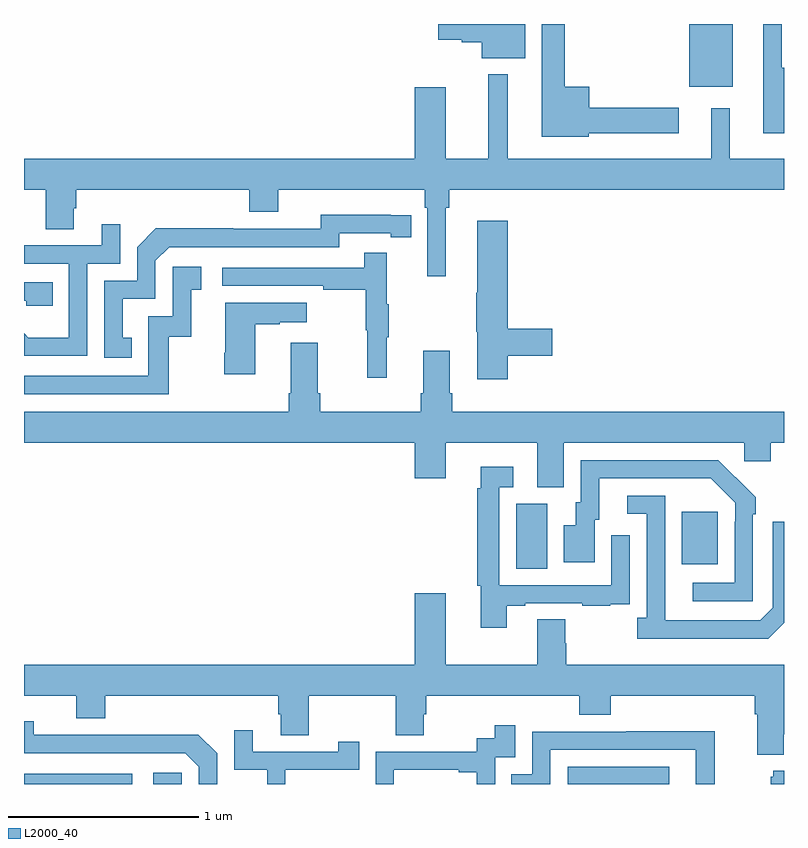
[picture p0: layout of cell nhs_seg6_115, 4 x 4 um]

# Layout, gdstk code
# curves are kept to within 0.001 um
import gdstk
lib = gdstk.Library(unit=1e-6, precision=1e-09)
def R(c, l, rs):  # rectangles x0, y0, x1, y1
    for r in rs: c.add(gdstk.rectangle(r[:2], r[2:], *l))
def P(c, l, *ps):  # polygons
    for p in ps: c.add(gdstk.Polygon(p, *l))
L2000_40 = (2000, 40)

nhs_seg6_115 = lib.new_cell('nhs_seg6_115')
R(nhs_seg6_115, L2000_40, [(115,985.5,115.57,985.554), (115.68,985.5,115.83,985.558), (117.861,985.5,118.396,985.59), (117.59,986.632,117.754,986.976), (118.463,986.657,118.651,986.932), (118.502,989.171,118.729,989.5)])
P(nhs_seg6_115, L2000_40, [(117.637,989.5),(117.18,989.5),(117.18,989.417),(117.303,989.417),(117.303,989.405),(117.41,989.405),(117.41,989.321),(117.637,989.321)],
  [(117.972,988.925),(118.447,988.925),(118.447,989.06),(117.976,989.06),(117.976,989.17),(117.847,989.17),(117.847,989.5),(117.725,989.5),(117.725,988.907),(117.972,988.907)],
  [(119,989.269),(118.989,989.269),(118.989,989.5),(118.892,989.5),(118.892,988.925),(119,988.925)],
  [(117.22,988.532),(117.239,988.532),(117.239,988.628),(119,988.628),(119,988.792),(118.714,988.792),(118.714,989.056),(118.616,989.056),(118.616,988.792),(117.547,988.792),(117.547,989.236),(117.443,989.236),(117.443,988.792),(117.22,988.792),(117.22,989.167),(117.056,989.167),(117.056,988.792),(115,988.792),(115,988.628),(115.114,988.628),(115.114,988.42),(115.261,988.42),(115.261,988.53),(115.274,988.53),(115.274,988.628),(116.186,988.628),(116.186,988.511),(116.338,988.511),(116.338,988.628),(117.11,988.628),(117.11,988.532),(117.123,988.532),(117.123,988.173),(117.22,988.173)],
  [(115.568,987.849),(115.519,987.849),(115.519,988.053),(115.692,988.053),(115.692,988.254),(115.764,988.326),(116.658,988.326),(116.658,988.398),(116.93,988.398),(116.93,988.378),(117.038,988.378),(117.038,988.494),(116.562,988.495),(116.562,988.422),(116.102,988.422),(116.102,988.424),(115.694,988.424),(115.596,988.326),(115.596,988.149),(115.422,988.149),(115.422,987.744),(115.568,987.744)],
  [(117.545,987.754),(117.781,987.754),(117.781,987.896),(117.545,987.896),(117.545,988.465),(117.386,988.465),(117.386,988.085),(117.379,988.085),(117.379,987.879),(117.386,987.879),(117.386,987.63),(117.545,987.63)],
  [(115.332,988.239),(115.506,988.239),(115.506,988.447),(115.409,988.447),(115.409,988.335),(115,988.335),(115,988.239),(115.236,988.239),(115.236,987.85),(115.022,987.85),(115,987.872),(115,987.753),(115.332,987.753)],
  [(116.909,987.851),(116.92,987.851),(116.92,988.025),(116.909,988.025),(116.909,988.297),(116.791,988.297),(116.791,988.218),(116.043,988.218),(116.043,988.122),(116.575,988.122),(116.575,988.102),(116.799,988.102),(116.799,987.888),(116.806,987.888),(116.806,987.639),(116.909,987.639)],
  [(115.762,987.855),(115.88,987.855),(115.88,988.101),(115.933,988.101),(115.933,988.222),(115.782,988.222),(115.782,987.963),(115.653,987.963),(115.653,987.648),(115,987.648),(115,987.552),(115.762,987.552)],
  [(115.151,988.14),(115,988.14),(115,988.044),(115.011,988.044),(115.011,988.017),(115.151,988.017)],
  [(116.218,987.919),(116.345,987.919),(116.345,987.929),(116.488,987.929),(116.488,988.033),(116.06,988.033),(116.06,987.769),(116.053,987.769),(116.053,987.657),(116.218,987.657)],
  [(117.841,987.296),(118.791,987.296),(118.791,987.198),(118.93,987.198),(118.93,987.296),(119,987.296),(119,987.46),(117.254,987.46),(117.254,987.556),(117.241,987.556),(117.241,987.781),(117.101,987.781),(117.101,987.556),(117.089,987.556),(117.089,987.46),(116.558,987.46),(116.558,987.556),(116.545,987.556),(116.545,987.823),(116.405,987.823),(116.405,987.556),(116.393,987.556),(116.393,987.46),(115,987.46),(115,987.296),(117.056,987.296),(117.056,987.108),(117.22,987.108),(117.22,987.296),(117.701,987.296),(117.701,987.061),(117.841,987.061)],
  [(118.836,986.921),(118.851,986.921),(118.851,987.009),(118.654,987.204),(117.93,987.204),(117.93,986.982),(117.905,986.982),(117.905,986.863),(117.842,986.863),(117.842,986.667),(118.003,986.667),(118.003,986.892),(118.027,986.892),(118.027,987.108),(118.615,987.108),(118.743,986.979),(118.743,986.879),(118.74,986.879),(118.74,986.559),(118.521,986.559),(118.521,986.463),(118.836,986.463)],
  [(117.541,986.439),(117.637,986.439),(117.637,986.451),(117.937,986.451),(117.937,986.439),(118.085,986.439),(118.085,986.445),(118.187,986.445),(118.187,986.554),(118.188,986.554),(118.188,986.809),(118.092,986.809),(118.092,986.547),(117.501,986.547),(117.501,987.063),(117.574,987.063),(117.574,987.169),(117.404,987.169),(117.404,987.056),(117.385,987.056),(117.385,986.544),(117.404,986.544),(117.404,986.322),(117.541,986.322)],
  [(119,986.348),(119,986.881),(118.941,986.881),(118.941,986.427),(118.875,986.361),(118.375,986.361),(118.374,987.018),(118.176,987.018),(118.176,986.922),(118.278,986.922),(118.278,986.374),(118.227,986.374),(118.227,986.264),(118.916,986.264)],
  [(118.999,985.762),(119,985.762),(119,986.128),(117.854,986.128),(117.854,986.241),(117.849,986.241),(117.849,986.366),(117.701,986.366),(117.701,986.128),(117.22,986.128),(117.22,986.503),(117.056,986.503),(117.056,986.128),(115,986.128),(115,985.964),(115.274,985.964),(115.274,985.847),(115.427,985.847),(115.427,985.964),(116.339,985.964),(116.339,985.866),(116.351,985.866),(116.351,985.756),(116.499,985.756),(116.499,985.964),(116.956,985.964),(116.956,985.756),(117.103,985.756),(117.103,985.866),(117.116,985.866),(117.116,985.964),(117.923,985.964),(117.923,985.865),(118.088,985.865),(118.088,985.964),(118.847,985.964),(118.847,985.868),(118.859,985.868),(118.859,985.655),(118.999,985.655)],
  [(116.016,985.662),(115.918,985.76),(115.51,985.76),(115.51,985.758),(115.05,985.758),(115.05,985.831),(115,985.831),(115,985.662),(115.848,985.662),(115.92,985.59),(115.92,985.5),(116.016,985.5)],
  [(116.946,985.575),(117.287,985.575),(117.287,985.563),(117.383,985.563),(117.383,985.5),(117.48,985.5),(117.48,985.641),(117.585,985.641),(117.585,985.81),(117.477,985.81),(117.477,985.74),(117.384,985.74),(117.384,985.671),(116.85,985.671),(116.85,985.5),(116.946,985.5)],
  [(116.376,985.575),(116.765,985.575),(116.765,985.723),(116.654,985.723),(116.654,985.671),(116.203,985.671),(116.203,985.783),(116.106,985.783),(116.106,985.575),(116.28,985.575),(116.28,985.5),(116.376,985.5)],
  [(117.771,985.68),(118.536,985.68),(118.536,985.5),(118.635,985.5),(118.635,985.778),(118.171,985.778),(118.171,985.776),(117.675,985.776),(117.675,985.551),(117.565,985.551),(117.565,985.5),(117.771,985.5)],
  [(119,985.57),(118.943,985.57),(118.943,985.539),(118.931,985.539),(118.931,985.5),(119,985.5)])

lib.write_gds('nhs_seg6_115.gds')
